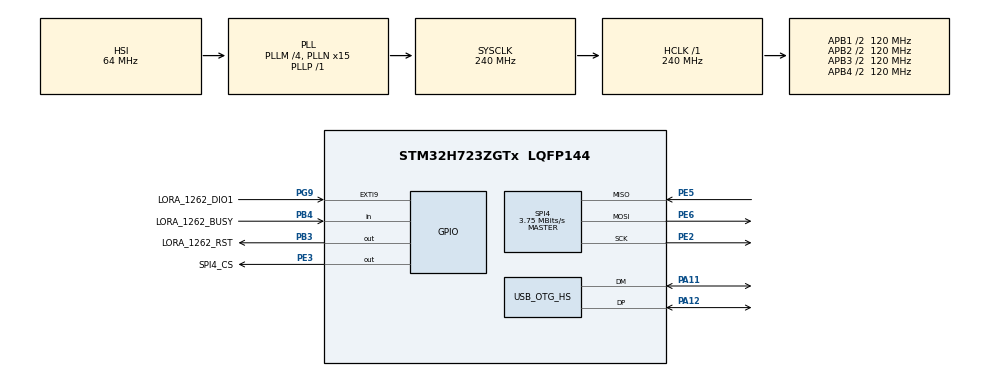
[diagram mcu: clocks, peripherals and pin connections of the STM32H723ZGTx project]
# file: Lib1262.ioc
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CORTEX_M7.default_mode_Activation=1
Mcu.Family=STM32H7
Mcu.Name=STM32H723ZGTx
Mcu.Package=LQFP144
NVIC.EXTI9_5_IRQn=true\:0\:0\:false\:false\:true\:true\:true\:true
NVIC.OTG_HS_IRQn=true\:0\:0\:false\:false\:true\:false\:true\:true
NVIC.PriorityGroup=NVIC_PRIORITYGROUP_4
PA11.Mode=Device_Only_FS
PA11.Signal=USB_OTG_HS_DM
PA12.Mode=Device_Only_FS
PA12.Signal=USB_OTG_HS_DP
PB3(JTDO/TRACESWO).GPIO_Label=LORA_1262_RST
PB3(JTDO/TRACESWO).Signal=GPIO_Output
PB4(NJTRST).GPIO_Label=LORA_1262_BUSY
PB4(NJTRST).Signal=GPIO_Input
PE2.Mode=Full_Duplex_Master
PE2.Signal=SPI4_SCK
PE3.GPIO_Label=SPI4_CS
PE3.Signal=GPIO_Output
PE5.Mode=Full_Duplex_Master
PE5.Signal=SPI4_MISO
PE6.Mode=Full_Duplex_Master
PE6.Signal=SPI4_MOSI
PG9.GPIO_Label=LORA_1262_DIO1
PG9.GPIO_ModeDefaultEXTI=GPIO_MODE_IT_RISING
PG9.GPIO_PuPd=GPIO_PULLDOWN
PG9.Signal=GPXTI9
ProjectManager.HeapSize=0x200
ProjectManager.StackSize=0x400
ProjectManager.TargetToolchain=STM32CubeIDE
RCC.ADCFreq_Value=129000000
RCC.APB1Freq_Value=120000000
RCC.APB2Freq_Value=120000000
RCC.APB3Freq_Value=120000000
RCC.APB4Freq_Value=120000000
RCC.CortexFreq_Value=240000000
RCC.D1PPRE=RCC_APB3_DIV2
RCC.D2PPRE1=RCC_APB1_DIV2
RCC.D2PPRE2=RCC_APB2_DIV2
RCC.D3PPRE=RCC_APB4_DIV2
RCC.DIVM1=4
RCC.DIVN1=15
RCC.DIVP1=1
RCC.HCLKFreq_Value=240000000
RCC.PLL2FRACN=0
RCC.PLL3FRACN=0
RCC.PLLFRACN=0
RCC.SYSCLKFreq_VALUE=240000000
RCC.SYSCLKSource=RCC_SYSCLKSOURCE_PLLCLK
RCC.USBCLockSelection=RCC_USBCLKSOURCE_HSI48
RCC.USBFreq_Value=48000000
SPI4.BaudRatePrescaler=SPI_BAUDRATEPRESCALER_32
SPI4.CalculateBaudRate=3.75 MBits/s
SPI4.DataSize=SPI_DATASIZE_8BIT
SPI4.Direction=SPI_DIRECTION_2LINES
SPI4.Mode=SPI_MODE_MASTER
SPI4.VirtualType=VM_MASTER
USB_DEVICE.CLASS_NAME_HS=CDC
USB_DEVICE.VirtualMode=Cdc
USB_DEVICE.VirtualModeHS=Cdc_HS
USB_OTG_HS.VirtualMode-Device_Only_FS=Device_Only_FS
VP_MEMORYMAP_VS_MEMORYMAP.Mode=CurAppReg
VP_USB_DEVICE_VS_USB_DEVICE_CDC_HS.Mode=CDC_HS
board=custom

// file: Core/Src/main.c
/* USER CODE BEGIN Header */
/**
 ******************************************************************************
 * @file           : main.c
 * @brief          : Main program body
 ******************************************************************************
 * @attention
 *
 * Copyright (c) 2026 STMicroelectronics.
 * All rights reserved.
 *
 * This software is licensed under terms that can be found in the LICENSE file
 * in the root directory of this software component.
 * If no LICENSE file comes with this software, it is provided AS-IS.
 *
 ******************************************************************************
 */
/* USER CODE END Header */
#include "main.h"
#include "usb_device.h"

/* USER CODE BEGIN Includes */

//#include "sx126x_hal.h"
//#include "dev_sx126x/Sx126x.h"
#include "../Libs/dev_sx1262/sx1262.h"
#include "../Libs/dev_sx1262/sx1262_hal.h"

/* USER CODE END Includes */

SPI_HandleTypeDef hspi4;

/* USER CODE BEGIN PV */
//sx1262_handle_t sx;
volatile uint8_t Rec_int_flg;
/* USER CODE END PV */

void SystemClock_Config(void);
static void MPU_Config(void);
static void MX_GPIO_Init(void);
static void MX_SPI4_Init(void);
/* USER CODE BEGIN PFP */
static void config_lora(sx1262_t *dev);

/* USER CODE END PFP */

/* USER CODE BEGIN 0 */
sx1262_t sx1262_dev;
sx1262_hal_t sx1262_hal;
//extern SX1262 SX_stc;
void sx1262_receive_callback(uint8_t *payload, uint8_t payload_len) {
	asm volatile("nop");
	// Handle received payload
	// For example, you can process or store the received data here
}

//uint8_t recbuf[20];
//uint8_t Len=0;
//HAL_StatusTypeDef err;
//volatile uint8_t Rec_int_flg;
//uint8_t counter = 0;
/* USER CODE END 0 */

int main(void) {

	/* MPU Configuration--------------------------------------------------------*/
	MPU_Config();

	/* MCU Configuration--------------------------------------------------------*/

	/* Reset of all peripherals, Initializes the Flash interface and the Systick. */
	HAL_Init();

	/* Configure the system clock */
	SystemClock_Config();

	/* Initialize all configured peripherals */
	MX_GPIO_Init();
	MX_SPI4_Init();
	MX_USB_DEVICE_Init();
	/* USER CODE BEGIN 2 */

	sx1262_hal.spi_transmit_receive = sx1262_hal_spi_transmit_receive;
	sx1262_hal.spi_cs_low = sx1262_hal_spi_cs_low;
	sx1262_hal.spi_cs_high = sx1262_hal_spi_cs_high;
	sx1262_hal.gpio_read_busy = sx1262_hal_gpio_read_busy;
	sx1262_hal.gpio_write_reset = sx1262_hal_gpio_write_reset;
	sx1262_hal.delay_ms = sx1262_hal_delay_ms;
	sx1262_hal.get_tick = sx1262_hal_get_tick;
	sx1262_hal.rx_callback = sx1262_receive_callback;
	sx1262_dev.initialized = SX1262_BOOL_FALSE;

	sx1262_status_t err = sx1262_init(&sx1262_dev, &sx1262_hal);

	if (err != SX1262_OK) {
		// Handle initialization error
		while (1)
			;
	}

	config_lora(&sx1262_dev);

//	err = sx1262_lora_transmit_it(&sx1262_dev, (uint8_t *) "send_test", 10);

	uint8_t buf[256];
	uint8_t len = 0;
	uint32_t timeout = 10000; // 10 seconds timeout

	err = sx1262_set_mode_continuous_receive(&sx1262_dev);
//
	if (err != SX1262_OK) {
		// Handle initialization error
		while (1)
			;
	}

	/* USER CODE END 2 */

	/* Infinite loop */
	/* USER CODE BEGIN WHILE */
	while (1) {
//			SX1262_HandleCallback(recbuf, &Len);
//			SX1262_setModeReceive();

//		err = sx1262_lora_receive(&sx1262_dev, buf, &len, timeout);
//		err = sx1262_lora_transmit(&sx1262_dev, (uint8_t *)"send_test", 10, 1000);
//		HAL_Delay(1000);

		/* USER CODE END WHILE */

	}
}

void SystemClock_Config(void) {
	RCC_OscInitTypeDef RCC_OscInitStruct = { 0 };
	RCC_ClkInitTypeDef RCC_ClkInitStruct = { 0 };

	/** Supply configuration update enable
	 */
	HAL_PWREx_ConfigSupply(PWR_LDO_SUPPLY);

	/** Configure the main internal regulator output voltage
	 */
	__HAL_PWR_VOLTAGESCALING_CONFIG(PWR_REGULATOR_VOLTAGE_SCALE0);

	while (!__HAL_PWR_GET_FLAG(PWR_FLAG_VOSRDY)) {
	}

	/** Initializes the RCC Oscillators according to the specified parameters
	 * in the RCC_OscInitTypeDef structure.
	 */
	RCC_OscInitStruct.OscillatorType = RCC_OSCILLATORTYPE_HSI48
			| RCC_OSCILLATORTYPE_HSI;
	RCC_OscInitStruct.HSIState = RCC_HSI_DIV1;
	RCC_OscInitStruct.HSICalibrationValue = 64;
	RCC_OscInitStruct.HSI48State = RCC_HSI48_ON;
	RCC_OscInitStruct.PLL.PLLState = RCC_PLL_ON;
	RCC_OscInitStruct.PLL.PLLSource = RCC_PLLSOURCE_HSI;
	RCC_OscInitStruct.PLL.PLLM = 4;
	RCC_OscInitStruct.PLL.PLLN = 15;
	RCC_OscInitStruct.PLL.PLLP = 1;
	RCC_OscInitStruct.PLL.PLLQ = 2;
	RCC_OscInitStruct.PLL.PLLR = 2;
	RCC_OscInitStruct.PLL.PLLRGE = RCC_PLL1VCIRANGE_3;
	RCC_OscInitStruct.PLL.PLLVCOSEL = RCC_PLL1VCOWIDE;
	RCC_OscInitStruct.PLL.PLLFRACN = 0;
	if (HAL_RCC_OscConfig(&RCC_OscInitStruct) != HAL_OK) {
		Error_Handler();
	}

	/** Initializes the CPU, AHB and APB buses clocks
	 */
	RCC_ClkInitStruct.ClockType = RCC_CLOCKTYPE_HCLK | RCC_CLOCKTYPE_SYSCLK
			| RCC_CLOCKTYPE_PCLK1 | RCC_CLOCKTYPE_PCLK2 | RCC_CLOCKTYPE_D3PCLK1
			| RCC_CLOCKTYPE_D1PCLK1;
	RCC_ClkInitStruct.SYSCLKSource = RCC_SYSCLKSOURCE_PLLCLK;
	RCC_ClkInitStruct.SYSCLKDivider = RCC_SYSCLK_DIV1;
	RCC_ClkInitStruct.AHBCLKDivider = RCC_HCLK_DIV1;
	RCC_ClkInitStruct.APB3CLKDivider = RCC_APB3_DIV2;
	RCC_ClkInitStruct.APB1CLKDivider = RCC_APB1_DIV2;
	RCC_ClkInitStruct.APB2CLKDivider = RCC_APB2_DIV2;
	RCC_ClkInitStruct.APB4CLKDivider = RCC_APB4_DIV2;

	if (HAL_RCC_ClockConfig(&RCC_ClkInitStruct, FLASH_LATENCY_3) != HAL_OK) {
		Error_Handler();
	}
}

static void MX_SPI4_Init(void) {

	/* SPI4 parameter configuration*/
	hspi4.Instance = SPI4;
	hspi4.Init.Mode = SPI_MODE_MASTER;
	hspi4.Init.Direction = SPI_DIRECTION_2LINES;
	hspi4.Init.DataSize = SPI_DATASIZE_8BIT;
	hspi4.Init.CLKPolarity = SPI_POLARITY_LOW;
	hspi4.Init.CLKPhase = SPI_PHASE_1EDGE;
	hspi4.Init.NSS = SPI_NSS_SOFT;
	hspi4.Init.BaudRatePrescaler = SPI_BAUDRATEPRESCALER_32;
	hspi4.Init.FirstBit = SPI_FIRSTBIT_MSB;
	hspi4.Init.TIMode = SPI_TIMODE_DISABLE;
	hspi4.Init.CRCCalculation = SPI_CRCCALCULATION_DISABLE;
	hspi4.Init.CRCPolynomial = 0x0;
	hspi4.Init.NSSPMode = SPI_NSS_PULSE_ENABLE;
	hspi4.Init.NSSPolarity = SPI_NSS_POLARITY_LOW;
	hspi4.Init.FifoThreshold = SPI_FIFO_THRESHOLD_01DATA;
	hspi4.Init.TxCRCInitializationPattern =
	SPI_CRC_INITIALIZATION_ALL_ZERO_PATTERN;
	hspi4.Init.RxCRCInitializationPattern =
	SPI_CRC_INITIALIZATION_ALL_ZERO_PATTERN;
	hspi4.Init.MasterSSIdleness = SPI_MASTER_SS_IDLENESS_00CYCLE;
	hspi4.Init.MasterInterDataIdleness = SPI_MASTER_INTERDATA_IDLENESS_00CYCLE;
	hspi4.Init.MasterReceiverAutoSusp = SPI_MASTER_RX_AUTOSUSP_DISABLE;
	hspi4.Init.MasterKeepIOState = SPI_MASTER_KEEP_IO_STATE_DISABLE;
	hspi4.Init.IOSwap = SPI_IO_SWAP_DISABLE;
	if (HAL_SPI_Init(&hspi4) != HAL_OK) {
		Error_Handler();
	}

}

static void MX_GPIO_Init(void) {
	GPIO_InitTypeDef GPIO_InitStruct = { 0 };

	/* GPIO Ports Clock Enable */
	__HAL_RCC_GPIOE_CLK_ENABLE();
	__HAL_RCC_GPIOA_CLK_ENABLE();
	__HAL_RCC_GPIOG_CLK_ENABLE();
	__HAL_RCC_GPIOB_CLK_ENABLE();

	/*Configure GPIO pin Output Level */
	HAL_GPIO_WritePin(SPI4_CS_GPIO_Port, SPI4_CS_Pin, GPIO_PIN_RESET);

	/*Configure GPIO pin Output Level */
	HAL_GPIO_WritePin(LORA_1262_RST_GPIO_Port, LORA_1262_RST_Pin,
			GPIO_PIN_RESET);

	/*Configure GPIO pin : SPI4_CS_Pin */
	GPIO_InitStruct.Pin = SPI4_CS_Pin;
	GPIO_InitStruct.Mode = GPIO_MODE_OUTPUT_PP;
	GPIO_InitStruct.Pull = GPIO_NOPULL;
	GPIO_InitStruct.Speed = GPIO_SPEED_FREQ_LOW;
	HAL_GPIO_Init(SPI4_CS_GPIO_Port, &GPIO_InitStruct);

	/*Configure GPIO pin : LORA_1262_DIO1_Pin */
	GPIO_InitStruct.Pin = LORA_1262_DIO1_Pin;
	GPIO_InitStruct.Mode = GPIO_MODE_IT_RISING;
	GPIO_InitStruct.Pull = GPIO_PULLDOWN;
	HAL_GPIO_Init(LORA_1262_DIO1_GPIO_Port, &GPIO_InitStruct);

	/*Configure GPIO pin : LORA_1262_RST_Pin */
	GPIO_InitStruct.Pin = LORA_1262_RST_Pin;
	GPIO_InitStruct.Mode = GPIO_MODE_OUTPUT_PP;
	GPIO_InitStruct.Pull = GPIO_NOPULL;
	GPIO_InitStruct.Speed = GPIO_SPEED_FREQ_LOW;
	HAL_GPIO_Init(LORA_1262_RST_GPIO_Port, &GPIO_InitStruct);

	/*Configure GPIO pin : LORA_1262_BUSY_Pin */
	GPIO_InitStruct.Pin = LORA_1262_BUSY_Pin;
	GPIO_InitStruct.Mode = GPIO_MODE_INPUT;
	GPIO_InitStruct.Pull = GPIO_NOPULL;
	HAL_GPIO_Init(LORA_1262_BUSY_GPIO_Port, &GPIO_InitStruct);

	/* EXTI interrupt init*/
	HAL_NVIC_SetPriority(LORA_1262_DIO1_EXTI_IRQn, 0, 0);
	HAL_NVIC_EnableIRQ(LORA_1262_DIO1_EXTI_IRQn);

}

/* USER CODE BEGIN 4 */
static void config_lora(sx1262_t *dev) {
	sx1262_status_t ret = sx1262_set_dio2_as_rf_switch_crtl(dev);

	if (ret != SX1262_OK) {
		while (1)
			;
	}

	ret = sx1262_set_packet_type(dev, PACKET_TYPE_LORA);

	if (ret != SX1262_OK) {
		while (1)
			;
	}

	ret = sx1262_set_frequency(dev, 433000000);

	if (ret != SX1262_OK) {
		while (1)
			;
	}

	ret = sx1262_set_stop_timer_on_sync_word(dev);

	if (ret != SX1262_OK) {
		while (1)
			;
	}

	ret = sx1262_set_lora_modulation_params(dev, SX1262_LORA_SF_10,
			SX1262_LORA_BANDWIDTH_125_KHZ, SX1262_LORA_CR_4_6,
			SX1262_BOOL_TRUE);

	if (ret != SX1262_OK) {
		while (1)
			;
	}

	ret = sx1262_set_pa_config(dev, 0x04, 0x07, 0, 0x01);

	if (ret != SX1262_OK) {
		while (1)
			;
	}

	ret = sx1262_set_tx_params(dev, 15, SX1262_RAMP_TIME_200US);

	if (ret != SX1262_OK) {
		while (1)
			;
	}

	ret = sx1262_set_lora_symbol_timeout(dev, 0x00);

	if (ret != SX1262_OK) {
		while (1)
			;
	}

	ret = sx1262_set_lora_packet_params(dev, 10,
			SX1262_LORA_HEADER_EXPLICIT, 0xFF, 0, 0);

	if(ret != SX1262_OK) {
		while(1);
	}

	uint16_t irq_mask = SX1262_IRQ_TX_DONE | SX1262_IRQ_RX_DONE
			| SX1262_IRQ_CRC_ERR | SX1262_IRQ_HEADER_ERR | SX1262_IRQ_TIMEOUT;

	uint16_t dio1_mask = SX1262_IRQ_RX_DONE | SX1262_IRQ_TX_DONE
			| SX1262_IRQ_TIMEOUT;

	ret = sx1262_set_dio_irq_params(dev, irq_mask, dio1_mask);

	if (ret != SX1262_OK) {
		while (1)
			;
	}

	ret = SX1262_set_fallback_mode(dev, SX1262_RX_TX_FALLBACK_MODE_STDBY_XOSC);

	if (ret != SX1262_OK) {
		while (1)
			;
	}

}

void HAL_GPIO_EXTI_Callback(uint16_t GPIO_Pin) {
	if (GPIO_Pin == LORA_1262_DIO1_Pin) {
		sx1262_irq_handler(&sx1262_dev);
	}
}

/* USER CODE END 4 */

/* MPU Configuration */

void MPU_Config(void) {
	MPU_Region_InitTypeDef MPU_InitStruct = { 0 };

	/* Disables the MPU */
	HAL_MPU_Disable();

	/** Initializes and configures the Region and the memory to be protected
	 */
	MPU_InitStruct.Enable = MPU_REGION_ENABLE;
	MPU_InitStruct.Number = MPU_REGION_NUMBER0;
	MPU_InitStruct.BaseAddress = 0x0;
	MPU_InitStruct.Size = MPU_REGION_SIZE_4GB;
	MPU_InitStruct.SubRegionDisable = 0x87;
	MPU_InitStruct.TypeExtField = MPU_TEX_LEVEL0;
	MPU_InitStruct.AccessPermission = MPU_REGION_NO_ACCESS;
	MPU_InitStruct.DisableExec = MPU_INSTRUCTION_ACCESS_DISABLE;
	MPU_InitStruct.IsShareable = MPU_ACCESS_SHAREABLE;
	MPU_InitStruct.IsCacheable = MPU_ACCESS_NOT_CACHEABLE;
	MPU_InitStruct.IsBufferable = MPU_ACCESS_NOT_BUFFERABLE;

	HAL_MPU_ConfigRegion(&MPU_InitStruct);
	/* Enables the MPU */
	HAL_MPU_Enable(MPU_PRIVILEGED_DEFAULT);

}

void Error_Handler(void) {
	__disable_irq();
	while (1) {
	}
}
